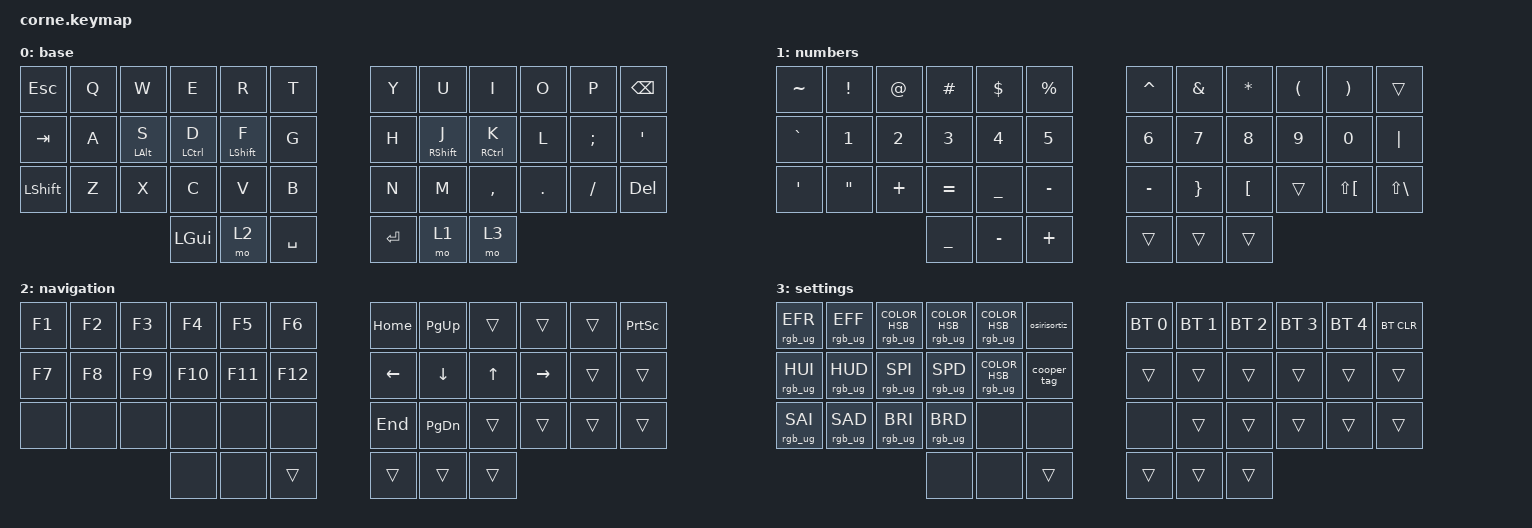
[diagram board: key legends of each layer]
#include <behaviors.dtsi>
#include <dt-bindings/zmk/bt.h>
#include <dt-bindings/zmk/keys.h>
#include <dt-bindings/zmk/rgb.h>

/* --- Keebmaker Corne: 21 per-key + 6 underglow = 27 LEDs per half --- */

&led_strip { chain-length = <27>; };

/ {
    /* ==========================================
     * Macros: hold layer + set RGB while held
     * ========================================== */

    macros {
        mo1_rgb: mo1_rgb {
            compatible = "zmk,behavior-macro";
            #binding-cells = <0>;
            wait-ms = <0>;
            tap-ms = <0>;
            bindings =
                <&macro_press>,
                <&mo 1>,
                <&macro_tap>,
                <&rgb_ug RGB_COLOR_HSB(231,100,50)>,
                <&macro_pause_for_release>,
                <&macro_release>,
                <&mo 1>;

            /* release: WHITE */

            label = "numbers";
        };

        mo2_rgb: mo2_rgb {
            compatible = "zmk,behavior-macro";
            #binding-cells = <0>;
            wait-ms = <0>;
            tap-ms = <0>;
            bindings =
                <&macro_press>,
                <&mo 2>,
                <&macro_tap>,
                <&rgb_ug RGB_COLOR_HSB(294,100,48)>,
                <&macro_pause_for_release>,
                <&macro_release>,
                <&mo 2>;

            /* release: WHITE */

            label = "navigation";
        };

        cooper_tag: cooper_tag {
            compatible = "zmk,behavior-macro";
            label = "COOPER_TAG";
            #binding-cells = <0>;
            wait-ms = <0>;
            tap-ms = <0>;
            bindings =
                <&macro_tap>,
                <&kp LS(C)>,
                <&macro_tap>,
                <&kp N0>,
                <&macro_tap>,
                <&kp N0>,
                <&macro_tap>,
                <&kp P>,
                <&macro_tap>,
                <&kp N3>,
                <&macro_tap>,
                <&kp R>,
                <&macro_tap>,
                <&kp LS(N6)>,
                <&macro_tap>,
                <&kp N3>,
                <&macro_tap>,
                <&kp N1>,
                <&macro_tap>,
                <&kp N5>;
        };

        mo3_set: mo3_set {
            compatible = "zmk,behavior-macro";
            #binding-cells = <0>;
            wait-ms = <0>;
            tap-ms = <0>;
            bindings =
                <&macro_press>,
                <&mo 3>,
                <&macro_tap>,
                <&rgb_ug RGB_COLOR_HSB(123,100,50)>,
                <&macro_pause_for_release>,
                <&macro_release>,
                <&mo 3>;

            label = "MO3_SET";
        };

        osirisortiz: osirisortiz {
            compatible = "zmk,behavior-macro";
            label = "OSIRISORTIZ";
            #binding-cells = <0>;
            wait-ms = <0>;
            tap-ms = <0>;
            bindings =
                <&macro_tap>,
                <&kp O &kp S &kp I &kp R &kp I &kp S &kp O &kp R &kp T &kp I &kp Z>;
        };
    };

    /* ==========================================
     * Home Row Mods (DEFINED ONCE, USED MANY TIMES)
     * ========================================== */

    behaviors {
        homerow_mods: homerow_mods {
            compatible = "zmk,behavior-hold-tap";
            label = "HRM";
            #binding-cells = <2>;
            tapping-term-ms = <200>;
            quick-tap-ms = <0>;
            flavor = "balanced";
            bindings = <&kp>, <&kp>;
        };
    };

    keymap {
        compatible = "zmk,keymap";

        BASE {
            bindings = <
&kp ESC    &kp Q  &kp W                     &kp E                  &kp R                  &kp T        &kp Y      &kp U                  &kp I                  &kp O    &kp P      &kp BSPC
&kp TAB    &kp A  &homerow_mods LEFT_ALT S  &homerow_mods LCTRL D  &homerow_mods LSHFT F  &kp G        &kp H      &homerow_mods RSHFT J  &homerow_mods RCTRL K  &kp L    &kp SEMI   &kp SQT
&kp LSHFT  &kp Z  &kp X                     &kp C                  &kp V                  &kp B        &kp N      &kp M                  &kp COMMA              &kp DOT  &kp SLASH  &kp DEL
                                            &kp LGUI               &mo 2                  &kp SPACE    &kp ENTER  &mo 1                  &mo 3
            >;

            label = "base";
        };

        NUM {
            bindings = <
&kp TILDE         &kp EXCL           &kp AT        &kp HASH      &kp DOLLAR    &kp PERCENT    &kp CARET     &kp AMPERSAND  &kp ASTERISK  &kp LEFT_PARENTHESIS  &kp RIGHT_PARENTHESIS  &trans
&kp GRAVE         &kp NUMBER_1       &kp NUMBER_2  &kp NUMBER_3  &kp NUMBER_4  &kp N5         &kp NUMBER_6  &kp N7         &kp N8        &kp N9                &kp NUMBER_0           &kp PIPE
&kp SINGLE_QUOTE  &kp DOUBLE_QUOTES  &kp PLUS      &kp EQUAL     &kp UNDER     &kp MINUS      &kp MINUS     &kp RBRC       &kp LBKT      &trans                &kp LS(LBKT)           &kp LS(BSLH)
                                                   &kp UNDER     &kp MINUS     &kp PLUS       &trans        &trans         &trans
            >;

            label = "numbers";
        };

        NAV {
            bindings = <
&kp F1  &kp F2  &kp F3  &kp F4   &kp F5   &kp F6     &kp HOME  &kp PG_UP  &trans  &trans     &trans  &kp PSCRN
&kp F7  &kp F8  &kp F9  &kp F10  &kp F11  &kp F12    &kp LEFT  &kp DOWN   &kp UP  &kp RIGHT  &trans  &trans
&none   &none   &none   &none    &none    &none      &kp END   &kp PG_DN  &trans  &trans     &trans  &trans
                        &none    &none    &trans     &trans    &trans     &trans
            >;

            label = "navigation";
        };

        SET {
            label = "settings";
            bindings = <
&rgb_ug RGB_EFR  &rgb_ug RGB_EFF  &rgb_ug RGB_COLOR_HSB(0,100,50)  &rgb_ug RGB_COLOR_HSB(236,100,50)  &rgb_ug RGB_COLOR_HSB(105,85,49)  &osirisortiz    &bt BT_SEL 0  &bt BT_SEL 1  &bt BT_SEL 2  &bt BT_SEL 3  &bt BT_SEL 4  &bt BT_CLR
&rgb_ug RGB_HUI  &rgb_ug RGB_HUD  &rgb_ug RGB_SPI                  &rgb_ug RGB_SPD                    &rgb_ug RGB_COLOR_HSB(0,0,0)      &cooper_tag     &trans        &trans        &trans        &trans        &trans        &trans
&rgb_ug RGB_SAI  &rgb_ug RGB_SAD  &rgb_ug RGB_BRI                  &rgb_ug RGB_BRD                    &none                             &none           &none         &trans        &trans        &trans        &trans        &trans
                                                                   &none                              &none                             &trans          &trans        &trans        &trans
            >;
        };
    };
};
